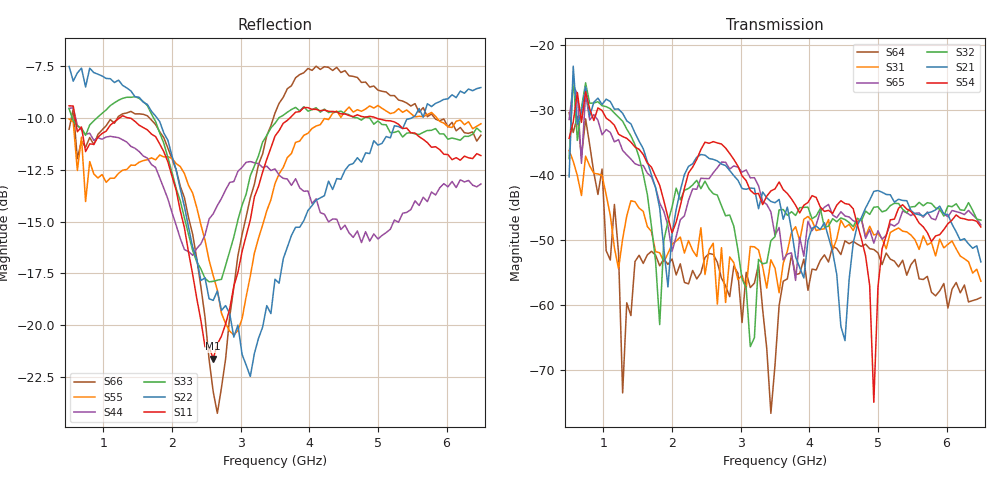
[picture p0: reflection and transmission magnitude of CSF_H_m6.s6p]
!Keysight Technologies,M9804A,MY58100912,A.14.10.03
!Date: Thursday, April 27, 2023 10:28:33
!Correction: S11(C  6-Port  )
!S12(C  6-Port  )
!S13(C  6-Port  )
!S14(C  6-Port  )
!S15(C  6-Port  )
!S16(C  6-Port  )
!S21(C  6-Port  )
!S22(C  6-Port  )
!S23(C  6-Port  )
!S24(C  6-Port  )
!S25(C  6-Port  )
!S26(C  6-Port  )
!S31(C  6-Port  )
!S32(C  6-Port  )
!S33(C  6-Port  )
!S34(C  6-Port  )
!S35(C  6-Port  )
!S36(C  6-Port  )
!S41(C  6-Port  )
!S42(C  6-Port  )
!S43(C  6-Port  )
!S44(C  6-Port  )
!S45(C  6-Port  )
!S46(C  6-Port  )
!S51(C  6-Port  )
!S52(C  6-Port  )
!S53(C  6-Port  )
!S54(C  6-Port  )
!S55(C  6-Port  )
!S56(C  6-Port  )
!S61(C  6-Port  )
!S62(C  6-Port  )
!S63(C  6-Port  )
!S64(C  6-Port  )
!S65(C  6-Port  )
!S66(C  6-Port  )
!S6P File: Measurement: :
# Hz S  RI  R 50
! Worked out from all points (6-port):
!   101 points, 500 MHz to 6.5 GHz, reference 50 ohm
!   strongest paths, dB at 500 MHz, 2 GHz, 3.5 GHz, 5 GHz, 6.5 GHz:
!     S54: -34.4, -48.9, -42.2, -57.3, -48.0
!     S21: -40.3, -49.1, -44.3, -42.4, -53.4
!     S32: -37.5, -45.0, -49.5, -44.9, -47.0
!     S65: -31.5, -51.8, -49.3, -48.6, -47.7
!     S31: -36.3, -50.7, -54.4, -49.1, -56.4
!     S64: -30.5, -53.0, -69.3, -52.0, -58.9
!   lowest |S11| = -21.6 dB at 2.6 GHz (marker M1), VSWR 1.18, Z = 42.6 + j2.03 ohm
!   |S11| at or under -10 dB: 587.9 MHz to 1.235 GHz (646.7 MHz wide, 71 % of centre); 1.377 GHz to 3.717 GHz (2.34 GHz wide, 91.9 % of centre); 4.972 GHz to end of sweep
